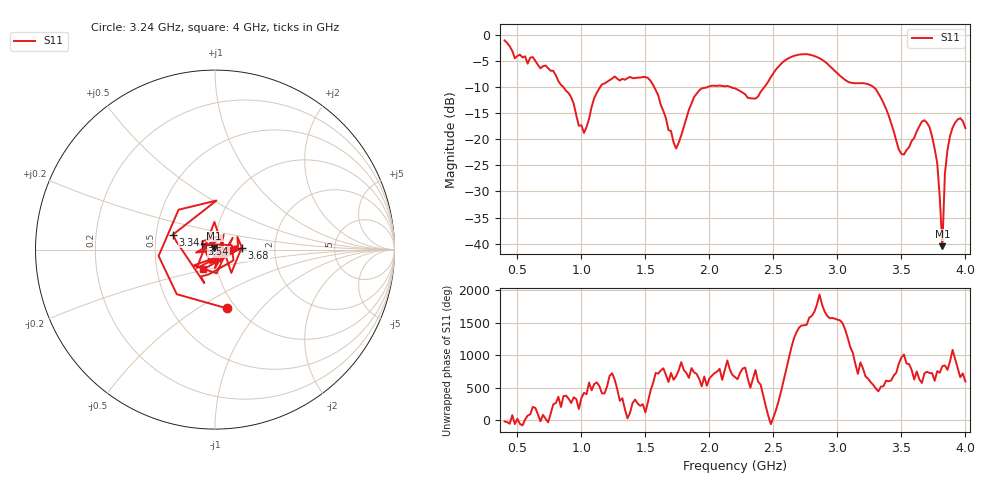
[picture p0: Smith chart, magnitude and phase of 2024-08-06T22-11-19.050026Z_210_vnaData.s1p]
!Created with skrf (http://scikit-rf.org).
# Hz S RI R 50.0
!freq ReS11 ImS11
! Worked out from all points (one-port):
!   181 points, 400 MHz to 4 GHz, reference 50 ohm
!   lowest |S11| = -40.5 dB at 3.82 GHz (marker M1), VSWR 1.02, Z = 49.6 + j0.844 ohm
!   |S11| at or under -10 dB: 857.6 MHz to 1.148 GHz (290.3 MHz wide, 29 % of centre); 1.568 GHz to 1.99 GHz (422.6 MHz wide, 23.8 % of centre); 3.28 GHz to end of sweep (the widest 3 of 4)
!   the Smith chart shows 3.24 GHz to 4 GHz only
!   S11 on the Smith chart (normalised r, x): 3.24 GHz: 0.91, -0.67; 3.34 GHz: 0.61, +0.11; 3.54 GHz: 0.86, +0.05; 3.68 GHz: 1.36, +0.03; 4 GHz: 0.86, -0.19
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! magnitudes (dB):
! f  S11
! 400 MHz  -1.1
! 480 MHz  -4.5
! 860 MHz  -10.1
! 1.02 GHz  -18.8
! 1.16 GHz  -9.5
! 1.3 GHz  -8.8
! 1.54 GHz  -8.8
! 1.74 GHz  -21.8
! 1.76 GHz  -20.7
! 1.92 GHz  -10.7
! 2.2 GHz  -10.3
! 2.36 GHz  -12.2
! 2.66 GHz  -4.1
! 2.86 GHz  -4.5
! 3.1 GHz  -9.2
! 3.24 GHz  -9.5
! 3.34 GHz  -12.1
! 3.48 GHz  -22.0
! 3.54 GHz  -22.1
! 3.56 GHz  -21.5
! 3.68 GHz  -16.4
! 3.72 GHz  -17.7
! 3.78 GHz  -24.6
! 3.82 GHz  -40.5
! 3.84 GHz  -26.6
! 3.88 GHz  -19.4
! 3.94 GHz  -16.2
! 4 GHz  -17.9
